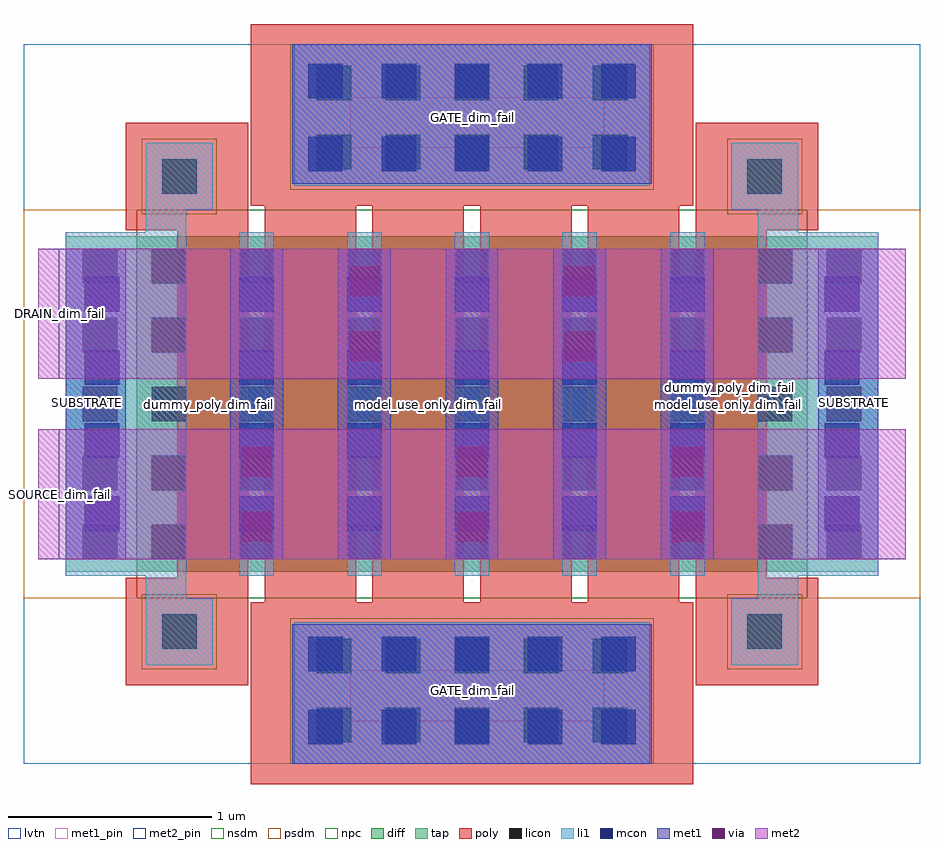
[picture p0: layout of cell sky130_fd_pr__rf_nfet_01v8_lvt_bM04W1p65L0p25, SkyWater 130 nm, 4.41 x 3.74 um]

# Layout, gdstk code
import gdstk
lib = gdstk.Library(unit=1e-6, precision=1e-09)
def R(c, l, rs):  # rectangles x0, y0, x1, y1
    for r in rs: c.add(gdstk.rectangle(r[:2], r[2:], *l))
def A(c, l, x, y, w, h, nx, ny, dx, dy):  # array of equal rectangles
    R(c, l, [(x+i*dx, y+j*dy, x+i*dx+w, y+j*dy+h) for i in range(nx) for j in range(ny)])
def P(c, l, *ps):  # polygons
    for p in ps: c.add(gdstk.Polygon(p, *l))
diff = (65, 20)
tap = (65, 44)
poly = (66, 20)
licon = (66, 44)
li1 = (67, 20)
mcon = (67, 44)
met1_pin = (68, 16)
met1 = (68, 20)
via = (68, 44)
met2_pin = (69, 16)
met2 = (69, 20)
nsdm = (93, 44)
psdm = (94, 20)
npc = (95, 20)
lvtn = (125, 44)

sky130_fd_pr__rf_nfet_01 = lib.new_cell('sky130_fd_pr__rf_nfet_01v8_lvt_bM04W1p65L0p25')
R(sky130_fd_pr__rf_nfet_01, diff, [(0.555,0.945,3.855,2.595)])
R(sky130_fd_pr__rf_nfet_01, tap, [(0.205,0.945,0.555,2.595), (3.855,0.945,4.205,2.595)])
P(sky130_fd_pr__rf_nfet_01, poly, [(0.5,0.385),(0.5,0.915),(0.755,0.915),(0.755,2.625),(0.5,2.625),(0.5,3.155),(1.105,3.155),(1.105,0.385)],
  [(3.305,0.385),(3.305,3.155),(3.91,3.155),(3.91,2.625),(3.655,2.625),(3.655,0.915),(3.91,0.915),(3.91,0.385)],
  [(1.115,-0.1),(1.115,0.795),(1.185,0.795),(1.185,2.745),(1.635,2.745),(1.635,0.795),(1.715,0.795),(1.715,2.745),(2.165,2.745),(2.165,0.795),(2.245,0.795),(2.245,2.745),(2.695,2.745),(2.695,0.795),(2.775,0.795),(2.775,2.745),(1.115,2.745),(1.115,3.64),(3.295,3.64),(3.295,2.745),(3.225,2.745),(3.225,0.795),(3.295,0.795),(3.295,-0.1)])
A(sky130_fd_pr__rf_nfet_01, licon, 1.44, 0.105, 0.17, 0.17, 5, 2, 0.34, 0.34)
A(sky130_fd_pr__rf_nfet_01, licon, 0.29, 1.005, 0.17, 0.17, 1, 5, 0, 0.34)
A(sky130_fd_pr__rf_nfet_01, licon, 0.63, 1.005, 0.17, 0.17, 1, 5, 0, 0.34)
A(sky130_fd_pr__rf_nfet_01, licon, 1.06, 1.005, 0.17, 0.17, 3, 1, 0.53, 0)
A(sky130_fd_pr__rf_nfet_01, licon, 2.12, 1.005, 0.17, 0.17, 3, 1, 0.53, 0)
A(sky130_fd_pr__rf_nfet_01, licon, 3.61, 1.005, 0.17, 0.17, 1, 5, 0, 0.34)
A(sky130_fd_pr__rf_nfet_01, licon, 3.95, 1.005, 0.17, 0.17, 1, 5, 0, 0.34)
A(sky130_fd_pr__rf_nfet_01, licon, 1.06, 1.345, 0.17, 0.17, 5, 4, 0.53, 0.34)
A(sky130_fd_pr__rf_nfet_01, licon, 1.44, 2.925, 0.17, 0.17, 5, 2, 0.34, 0.34)
R(sky130_fd_pr__rf_nfet_01, licon, [(0.68,0.565,0.85,0.735), (3.56,0.565,3.73,0.735), (1.06,1.005,1.23,1.175), (3.18,1.005,3.35,1.175), (0.68,2.805,0.85,2.975), (3.56,2.805,3.73,2.975)])
A(sky130_fd_pr__rf_nfet_01, li1, 1.06, 0.925, 0.17, 1.69, 5, 1, 0.53, 0)
R(sky130_fd_pr__rf_nfet_01, li1, [(1.33,0,3.08,0.695), (0.6,0.485,0.93,0.815), (3.48,0.485,3.81,0.815), (0.6,0.815,0.8,0.925), (3.61,0.815,3.81,0.925), (0.205,0.925,0.8,2.615), (3.61,0.925,4.205,2.615), (0.6,2.615,0.8,2.725), (3.61,2.615,3.81,2.725), (0.6,2.725,0.93,3.055), (3.48,2.725,3.81,3.055), (1.33,2.845,3.08,3.54)])
A(sky130_fd_pr__rf_nfet_01, mcon, 1.4, 0.095, 0.17, 0.17, 5, 2, 0.36, 0.36)
A(sky130_fd_pr__rf_nfet_01, mcon, 0.3, 1.145, 0.17, 0.17, 1, 4, 0, 0.36)
A(sky130_fd_pr__rf_nfet_01, mcon, 1.06, 1.145, 0.17, 0.17, 5, 4, 0.53, 0.36)
A(sky130_fd_pr__rf_nfet_01, mcon, 3.94, 1.145, 0.17, 0.17, 1, 4, 0, 0.36)
A(sky130_fd_pr__rf_nfet_01, mcon, 1.4, 2.915, 0.17, 0.17, 5, 2, 0.36, 0.36)
R(sky130_fd_pr__rf_nfet_01, met1_pin, [(1.605,0.21,2.855,0.46), (0.205,1.695,0.435,1.845), (3.975,1.695,4.205,1.845), (1.605,3.03,2.855,3.28)])
A(sky130_fd_pr__rf_nfet_01, met1, 1.015, 1.005, 0.26, 1.53, 5, 1, 0.53, 0)
R(sky130_fd_pr__rf_nfet_01, met1, [(1.32,0,3.09,0.685), (0.205,1.005,0.5,2.535), (3.91,1.005,4.205,2.535), (1.32,2.855,3.09,3.54)])
A(sky130_fd_pr__rf_nfet_01, via, 1.07, 1.09, 0.15, 0.15, 3, 2, 1.06, 0.32)
R(sky130_fd_pr__rf_nfet_01, via, [(1.6,1.98,1.75,2.13), (2.66,1.98,2.81,2.13), (1.6,2.3,1.75,2.45), (2.66,2.3,2.81,2.45)])
R(sky130_fd_pr__rf_nfet_01, met2_pin, [(0.07,1.005,0.175,1.645), (0.07,1.895,0.175,2.535)])
R(sky130_fd_pr__rf_nfet_01, met2, [(0.07,1.005,4.34,1.645), (0.07,1.895,4.34,2.535)])
R(sky130_fd_pr__rf_nfet_01, nsdm, [(0.555,0.815,3.855,2.725)])
R(sky130_fd_pr__rf_nfet_01, psdm, [(0,0.815,0.555,2.725), (3.855,0.815,4.41,2.725)])
R(sky130_fd_pr__rf_nfet_01, npc, [(1.31,0,3.1,0.715), (0.58,0.465,0.95,0.835), (3.46,0.465,3.83,0.835), (0.58,2.705,0.95,3.075), (3.46,2.705,3.83,3.075), (1.31,2.825,3.1,3.54)])
R(sky130_fd_pr__rf_nfet_01, lvtn, [(0,0,4.41,3.54)])
sky130_fd_pr__rf_nfet_01.add(gdstk.Label('dummy_poly_dim_fail', (3.47,1.85), layer=83, texttype=44))
sky130_fd_pr__rf_nfet_01.add(gdstk.Label('dummy_poly_dim_fail', (0.91,1.77), layer=83, texttype=44))
sky130_fd_pr__rf_nfet_01.add(gdstk.Label('GATE_dim_fail', (2.205,3.18), layer=68, texttype=5))
sky130_fd_pr__rf_nfet_01.add(gdstk.Label('GATE_dim_fail', (2.205,0.36), layer=68, texttype=5))
sky130_fd_pr__rf_nfet_01.add(gdstk.Label('SUBSTRATE', (0.315,1.775), layer=68, texttype=16))
sky130_fd_pr__rf_nfet_01.add(gdstk.Label('SUBSTRATE', (4.085,1.775), layer=68, texttype=16))
sky130_fd_pr__rf_nfet_01.add(gdstk.Label('model_use_only_dim_fail', (0.905,1.77), layer=66, texttype=83))
sky130_fd_pr__rf_nfet_01.add(gdstk.Label('model_use_only_dim_fail', (3.465,1.77), layer=66, texttype=83))
sky130_fd_pr__rf_nfet_01.add(gdstk.Label('model_use_only_dim_fail', (1.46,1.77), layer=66, texttype=83))
sky130_fd_pr__rf_nfet_01.add(gdstk.Label('model_use_only_dim_fail', (1.99,1.77), layer=66, texttype=83))
sky130_fd_pr__rf_nfet_01.add(gdstk.Label('model_use_only_dim_fail', (2.95,1.77), layer=66, texttype=83))
sky130_fd_pr__rf_nfet_01.add(gdstk.Label('model_use_only_dim_fail', (2.42,1.77), layer=66, texttype=83))
sky130_fd_pr__rf_nfet_01.add(gdstk.Label('SOURCE_dim_fail', (0.175,1.325), layer=69, texttype=5))
sky130_fd_pr__rf_nfet_01.add(gdstk.Label('DRAIN_dim_fail', (0.175,2.215), layer=69, texttype=5))

lib.write_gds('sky130_fd_pr__rf_nfet_01v8_lvt_bM04W1p65L0p25.gds')
